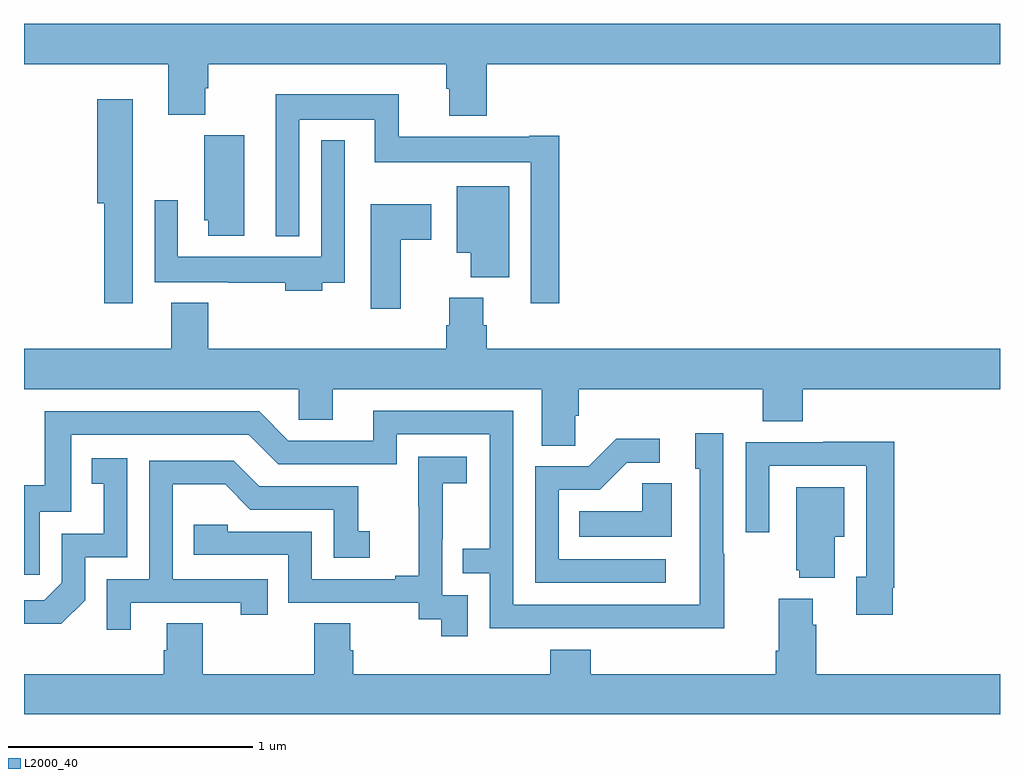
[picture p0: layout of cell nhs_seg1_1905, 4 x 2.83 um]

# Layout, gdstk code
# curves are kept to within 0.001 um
import gdstk
lib = gdstk.Library(unit=1e-6, precision=1e-09)
def P(c, l, *ps):  # polygons
    for p in ps: c.add(gdstk.Polygon(p, *l))
L2000_40 = (2000, 40)

nhs_seg1_1905 = lib.new_cell('nhs_seg1_1905')
P(nhs_seg1_1905, L2000_40, [(216.896,533.084),(219,533.084),(219,533.248),(215,533.248),(215,533.084),(215.591,533.084),(215.591,532.876),(215.743,532.876),(215.743,532.985),(215.756,532.985),(215.756,533.084),(216.731,533.084),(216.731,532.983),(216.743,532.983),(216.743,532.871),(216.896,532.871)],
  [(217.193,532.789),(217.07,532.789),(217.07,532.786),(216.536,532.786),(216.536,532.96),(216.032,532.96),(216.032,532.379),(216.129,532.379),(216.129,532.856),(216.438,532.856),(216.438,532.682),(217.077,532.682),(217.077,532.104),(217.193,532.104)],
  [(215.445,532.618),(215.446,532.618),(215.446,532.939),(215.3,532.939),(215.3,532.514),(215.329,532.514),(215.329,532.104),(215.445,532.104)],
  [(215.902,532.791),(215.738,532.791),(215.738,532.443),(215.756,532.443),(215.756,532.38),(215.902,532.38)],
  [(216.223,532.188),(216.315,532.188),(216.315,532.771),(216.219,532.771),(216.219,532.294),(215.631,532.294),(215.631,532.525),(215.535,532.525),(215.535,532.19),(215.839,532.19),(215.839,532.188),(216.071,532.188),(216.071,532.154),(216.223,532.154)],
  [(216.988,532.582),(216.773,532.582),(216.773,532.31),(216.83,532.31),(216.83,532.211),(216.988,532.211)],
  [(216.544,532.363),(216.67,532.363),(216.67,532.51),(216.422,532.51),(216.422,532.08),(216.544,532.08)],
  [(217.26,531.643),(217.274,531.643),(217.274,531.752),(218.027,531.752),(218.027,531.619),(218.192,531.619),(218.192,531.752),(219,531.752),(219,531.916),(216.896,531.916),(216.896,532.014),(216.883,532.014),(216.883,532.126),(216.743,532.126),(216.743,532.014),(216.731,532.014),(216.731,531.916),(215.756,531.916),(215.756,532.105),(215.603,532.105),(215.603,531.916),(215,531.916),(215,531.752),(216.126,531.752),(216.126,531.625),(216.265,531.625),(216.265,531.752),(217.121,531.752),(217.121,531.52),(217.26,531.52)],
  [(217.869,531.077),(217.866,531.077),(217.866,531.571),(217.751,531.571),(217.751,531.426),(217.77,531.426),(217.77,530.868),(217.005,530.868),(217.005,531.663),(216.431,531.663),(216.431,531.54),(216.084,531.54),(215.964,531.66),(215.085,531.66),(215.085,531.358),(215,531.358),(215,530.991),(215.064,530.991),(215.064,531.249),(215.193,531.249),(215.193,531.564),(215.922,531.564),(216.042,531.444),(216.528,531.444),(216.528,531.567),(216.909,531.567),(216.909,531.098),(216.799,531.098),(216.799,530.997),(216.909,530.997),(216.909,530.772),(217.869,530.771)],
  [(217.63,531.054),(217.191,531.054),(217.191,531.339),(217.36,531.339),(217.471,531.45),(217.606,531.45),(217.606,531.548),(217.427,531.548),(217.314,531.435),(217.095,531.435),(217.095,530.958),(217.63,530.958)],
  [(218.56,530.938),(218.567,530.938),(218.567,531.536),(218.275,531.536),(218.275,531.534),(217.959,531.534),(217.959,531.165),(218.055,531.165),(218.055,531.438),(218.451,531.438),(218.451,530.982),(218.411,530.982),(218.411,530.826),(218.56,530.826)],
  [(216.819,530.907),(216.714,530.907),(216.714,531.137),(216.716,531.137),(216.716,531.365),(216.814,531.365),(216.814,531.475),(216.616,531.475),(216.616,531.269),(216.617,531.269),(216.617,530.986),(216.521,530.986),(216.521,530.973),(216.18,530.973),(216.18,531.168),(215.835,531.168),(215.835,531.195),(215.695,531.195),(215.695,531.072),(216.084,531.072),(216.084,530.877),(216.618,530.877),(216.618,530.809),(216.711,530.809),(216.711,530.739),(216.819,530.739)],
  [(215.25,530.886),(215.25,531.063),(215.424,531.063),(215.424,531.469),(215.278,531.469),(215.278,531.363),(215.327,531.363),(215.327,531.159),(215.154,531.159),(215.154,530.958),(215.082,530.886),(215,530.886),(215,530.789),(215.152,530.789)],
  [(215.437,530.877),(215.888,530.877),(215.888,530.826),(215.999,530.826),(215.999,530.973),(215.61,530.973),(215.61,531.362),(215.824,531.362),(215.928,531.258),(216.27,531.258),(216.27,531.06),(216.418,531.06),(216.418,531.169),(216.369,531.169),(216.369,531.354),(215.965,531.354),(215.86,531.459),(215.514,531.459),(215.514,530.973),(215.34,530.973),(215.34,530.766),(215.437,530.766)],
  [(217.654,531.365),(217.533,531.365),(217.533,531.25),(217.276,531.25),(217.276,531.146),(217.654,531.146)],
  [(218.323,531.146),(218.362,531.146),(218.362,531.349),(218.165,531.349),(218.165,531.009),(218.177,531.009),(218.177,530.978),(218.323,530.978)],
  [(219,530.584),(218.246,530.584),(218.246,530.786),(218.233,530.786),(218.233,530.893),(218.093,530.893),(218.093,530.68),(218.081,530.68),(218.081,530.584),(217.322,530.584),(217.322,530.683),(217.157,530.683),(217.157,530.584),(216.35,530.584),(216.35,530.682),(216.337,530.682),(216.337,530.792),(216.19,530.792),(216.19,530.584),(215.733,530.584),(215.733,530.792),(215.585,530.792),(215.585,530.682),(215.573,530.682),(215.573,530.584),(215,530.584),(215,530.42),(219,530.42)])

lib.write_gds('nhs_seg1_1905.gds')
